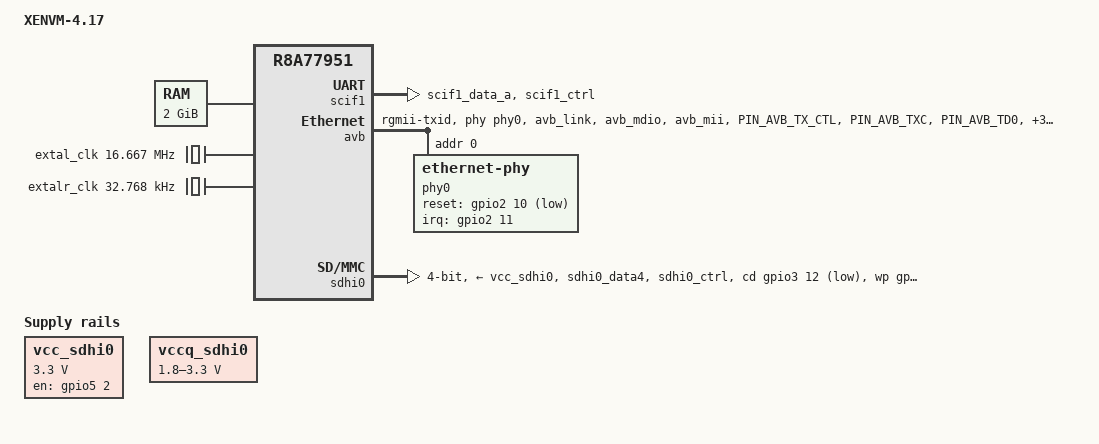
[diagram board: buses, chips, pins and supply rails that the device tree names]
/dts-v1/;

#include <dt-bindings/clock/r8a7795-cpg-mssr.h>
#include <dt-bindings/interrupt-controller/arm-gic.h>

#include <dt-bindings/gpio/gpio.h>

/ {
	model = "XENVM-4.17";
	compatible = "xen,xenvm-4.17\0xen,xenvm";
	interrupt-parent = <0xfde8>;
	#address-cells = <0x02>;
	#size-cells = <0x02>;

	cpus {
		#address-cells = <0x01>;
		#size-cells = <0x00>;

		cpu@0 {
			device_type = "cpu";
			compatible = "arm,armv8";
			enable-method = "psci";
			reg = <0x00>;
		};
	};

	psci {
		compatible = "arm,psci-1.0\0arm,psci-0.2\0arm,psci";
		method = "hvc";
		cpu_off = <0x01>;
		cpu_on = <0x02>;
	};

	memory@40000000 {
		device_type = "memory";
		reg = <0x00 0x40000000 0x00 0x80000000>;
	};

	extal_clk: extal {
		compatible = "fixed-clock";
		#clock-cells = <0>;
		clock-frequency = <16666666>;
	};

	extalr_clk: extalr {
		compatible = "fixed-clock";
		#clock-cells = <0>;
		clock-frequency = <32768>;
	};
	
	gic: interrupt-controller@3001000 {
		compatible = "arm,cortex-a15-gic\0arm,cortex-a9-gic";
		#interrupt-cells = <0x03>;
		#address-cells = <0x00>;
		interrupt-controller;
		reg = <0x00 0x3001000 0x00 0x1000 0x00 0x3002000 0x00 0x2000>;
		linux,phandle = <0xfde8>;
		phandle = <0xfde8>;
	};

	cpg: clock-controller@e6150000 {
		compatible = "renesas,r8a7795-cpg-mssr";
		reg = <0 0xe6150000 0 0x1000>;
		clocks = <&extal_clk>, <&extalr_clk>;
		clock-names = "extal", "extalr";
		#clock-cells = <2>;
		#power-domain-cells = <0>;
		#reset-cells = <1>;
	};

	rst: reset-controller@e6160000 {
		compatible = "renesas,r8a7795-rst";
		reg = <0 0xe6160000 0 0x0200>;
	};

	scif_clk: scif {
		compatible = "fixed-clock";
		#clock-cells = <0>;
		clock-frequency = <14745600>;
	};

	scif1: serial@e6e68000 {
		compatible = "renesas,scif-r8a7795",
			     "renesas,rcar-gen3-scif", "renesas,scif";
		interrupt-parent = <&gic>;
		reg = <0 0xe6e68000 0 64>;
		interrupts = <GIC_SPI 153 IRQ_TYPE_LEVEL_HIGH>;
		clocks = <&cpg CPG_MOD 206>,
			 <&cpg CPG_CORE R8A7795_CLK_S3D1>,
			 <&scif_clk>;
		clock-names = "fck", "brg_int", "scif_clk";
		resets = <&cpg 206>;
		pinctrl-0 = <&scif1_pins>;
		pinctrl-names = "default";
		uart-has-rtscts;

		status = "okay";
	};
	
	avb: ethernet@e6800000 {
		compatible = "renesas,etheravb-r8a7795",
			     "renesas,etheravb-rcar-gen3";
		reg = <0 0xe6800000 0 0x800>, <0 0xe6a00000 0 0x10000>;
		interrupts = <GIC_SPI 39 IRQ_TYPE_LEVEL_HIGH>,
			     <GIC_SPI 40 IRQ_TYPE_LEVEL_HIGH>,
			     <GIC_SPI 41 IRQ_TYPE_LEVEL_HIGH>,
			     <GIC_SPI 42 IRQ_TYPE_LEVEL_HIGH>,
			     <GIC_SPI 43 IRQ_TYPE_LEVEL_HIGH>,
			     <GIC_SPI 44 IRQ_TYPE_LEVEL_HIGH>,
			     <GIC_SPI 45 IRQ_TYPE_LEVEL_HIGH>,
			     <GIC_SPI 46 IRQ_TYPE_LEVEL_HIGH>,
			     <GIC_SPI 47 IRQ_TYPE_LEVEL_HIGH>,
			     <GIC_SPI 48 IRQ_TYPE_LEVEL_HIGH>,
			     <GIC_SPI 49 IRQ_TYPE_LEVEL_HIGH>,
			     <GIC_SPI 50 IRQ_TYPE_LEVEL_HIGH>,
			     <GIC_SPI 51 IRQ_TYPE_LEVEL_HIGH>,
			     <GIC_SPI 52 IRQ_TYPE_LEVEL_HIGH>,
			     <GIC_SPI 53 IRQ_TYPE_LEVEL_HIGH>,
			     <GIC_SPI 54 IRQ_TYPE_LEVEL_HIGH>,
			     <GIC_SPI 55 IRQ_TYPE_LEVEL_HIGH>,
			     <GIC_SPI 56 IRQ_TYPE_LEVEL_HIGH>,
			     <GIC_SPI 57 IRQ_TYPE_LEVEL_HIGH>,
			     <GIC_SPI 58 IRQ_TYPE_LEVEL_HIGH>,
			     <GIC_SPI 59 IRQ_TYPE_LEVEL_HIGH>,
			     <GIC_SPI 60 IRQ_TYPE_LEVEL_HIGH>,
			     <GIC_SPI 61 IRQ_TYPE_LEVEL_HIGH>,
			     <GIC_SPI 62 IRQ_TYPE_LEVEL_HIGH>,
			     <GIC_SPI 63 IRQ_TYPE_LEVEL_HIGH>;
		interrupt-names = "ch0", "ch1", "ch2", "ch3",
				  "ch4", "ch5", "ch6", "ch7",
				  "ch8", "ch9", "ch10", "ch11",
				  "ch12", "ch13", "ch14", "ch15",
				  "ch16", "ch17", "ch18", "ch19",
				  "ch20", "ch21", "ch22", "ch23",
				  "ch24";
		clocks = <&cpg CPG_MOD 812>;
		resets = <&cpg 812>;
		#address-cells = <1>;
		#size-cells = <0>;
		
		pinctrl-0 = <&avb_pins>;
		pinctrl-names = "default";
		phy-handle = <&phy0>;
		phy-mode = "rgmii-txid";
		status = "okay";

		phy0: ethernet-phy@0 {
			rxc-skew-ps = <1500>;
			reg = <0>;
			interrupt-parent = <&gpio2>;
			interrupts = <11 IRQ_TYPE_LEVEL_LOW>;
			reset-gpios = <&gpio2 10 GPIO_ACTIVE_LOW>;
		};
	};
	
	gpio2: gpio@e6052000 {
		compatible = "renesas,gpio-r8a7795",
			     "renesas,rcar-gen3-gpio";
		reg = <0 0xe6052000 0 0x50>;
		interrupts = <GIC_SPI 6 IRQ_TYPE_LEVEL_HIGH>;
		#gpio-cells = <2>;
		gpio-controller;
		gpio-ranges = <&pfc 0 64 15>;
		#interrupt-cells = <2>;
		interrupt-controller;
		clocks = <&cpg CPG_MOD 910>;
		resets = <&cpg 910>;
	};

	gpio3: gpio@e6053000 {
		compatible = "renesas,gpio-r8a7795",
			     "renesas,rcar-gen3-gpio";
		reg = <0 0xe6053000 0 0x50>;
		interrupts = <GIC_SPI 7 IRQ_TYPE_LEVEL_HIGH>;
		#gpio-cells = <2>;
		gpio-controller;
		gpio-ranges = <&pfc 0 96 16>;
		#interrupt-cells = <2>;
		interrupt-controller;
		clocks = <&cpg CPG_MOD 909>;
		resets = <&cpg 909>;
	};
		
	gpio5: gpio@e6055000 {
		compatible = "renesas,gpio-r8a7795",
			     "renesas,rcar-gen3-gpio";
		reg = <0 0xe6055000 0 0x50>;
		interrupts = <GIC_SPI 9 IRQ_TYPE_LEVEL_HIGH>;
		#gpio-cells = <2>;
		gpio-controller;
		gpio-ranges = <&pfc 0 160 26>;
		#interrupt-cells = <2>;
		interrupt-controller;
		clocks = <&cpg CPG_MOD 907>;
		resets = <&cpg 907>;
	};

	pfc: pin-controller@e6060000 {
		compatible = "renesas,pfc-r8a7795";
		reg = <0 0xe6060000 0 0x50c>;


		pinctrl-0 = <&scif_clk_pins>;
		pinctrl-names = "default";

		avb_pins: avb {
			mux {
				groups = "avb_link", "avb_mdio", "avb_mii";
				function = "avb";
			};

			pins_mdio {
				groups = "avb_mdio";
				drive-strength = <24>;
			};

			pins_mii_tx {
				pins = "PIN_AVB_TX_CTL", "PIN_AVB_TXC", "PIN_AVB_TD0",
				       "PIN_AVB_TD1", "PIN_AVB_TD2", "PIN_AVB_TD3";
				drive-strength = <12>;
			};
		};

		scif1_pins: scif1 {
			groups = "scif1_data_a", "scif1_ctrl";
			function = "scif1";
		};

		scif_clk_pins: scif_clk {
			groups = "scif_clk_a";
			function = "scif_clk";
		};

		sdhi0_pins: sd0 {
			groups = "sdhi0_data4", "sdhi0_ctrl";
			function = "sdhi0";
			power-source = <3300>;
		};

		sdhi0_pins_uhs: sd0_uhs {
			groups = "sdhi0_data4", "sdhi0_ctrl";
			function = "sdhi0";
			power-source = <1800>;
		};
	};

	vcc_sdhi0: regulator-vcc-sdhi0 {
		compatible = "regulator-fixed";

		regulator-name = "SDHI0 Vcc";
		regulator-min-microvolt = <3300000>;
		regulator-max-microvolt = <3300000>;

		gpio = <&gpio5 2 GPIO_ACTIVE_HIGH>;
		enable-active-high;
		u-boot,off-on-delay-us = <20000>;
	};

	vccq_sdhi0: regulator-vccq-sdhi0 {
		compatible = "regulator-gpio";

		regulator-name = "SDHI0 VccQ";
		regulator-min-microvolt = <1800000>;
		regulator-max-microvolt = <3300000>;

		gpios = <&gpio5 1 GPIO_ACTIVE_HIGH>;
		gpios-states = <1>;
		states = <3300000 1>, <1800000 0>;
	};
	
	sdhi0: sd@ee100000 {
		compatible = "renesas,sdhi-r8a7795",
			     "renesas,rcar-gen3-sdhi";
		reg = <0 0xee100000 0 0x2000>;
		interrupts = <GIC_SPI 165 IRQ_TYPE_LEVEL_HIGH>;
		clocks = <&cpg CPG_MOD 314>;
		max-frequency = <208000000>;
		resets = <&cpg 314>;
		status = "okay";
		pinctrl-0 = <&sdhi0_pins>;
		pinctrl-1 = <&sdhi0_pins_uhs>;
		pinctrl-names = "default", "state_uhs";

		vmmc-supply = <&vcc_sdhi0>;
		vqmmc-supply = <&vccq_sdhi0>;
		cd-gpios = <&gpio3 12 GPIO_ACTIVE_LOW>;
		wp-gpios = <&gpio3 13 GPIO_ACTIVE_HIGH>;
		bus-width = <4>;
		sd-uhs-sdr12;
		sd-uhs-sdr25;
		sd-uhs-sdr50;
		sd-uhs-sdr104;
	};
	
	timer {
		compatible = "arm,armv8-timer";
		interrupts = <0x01 0x0d 0xf08 0x01 0x0e 0xf08 0x01 0x0b 0xf08>;
		interrupt-parent = <0xfde8>;
	};

	hypervisor {
		compatible = "xen,xen-4.16\0xen,xen";
		reg = <0x00 0x38000000 0x00 0x1000 0x00 0x44000000 0x00 0xbc000000 0x02 0x00 0xfe 0x00>;
		interrupts = <0x01 0x0f 0xf08>;
		interrupt-parent = <0xfde8>;
	};
};
